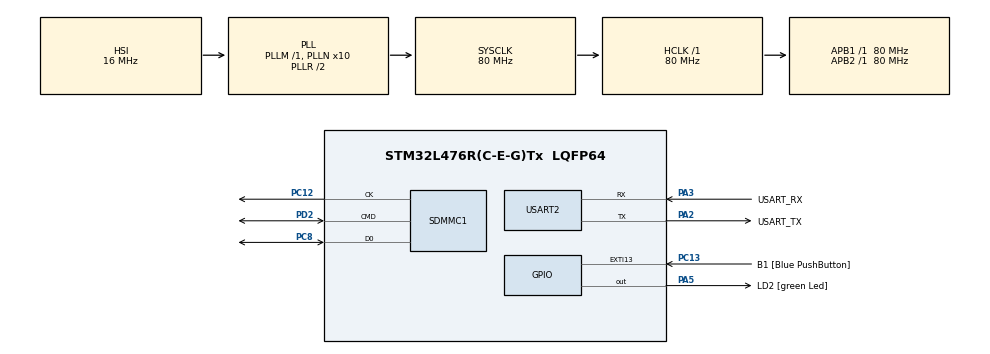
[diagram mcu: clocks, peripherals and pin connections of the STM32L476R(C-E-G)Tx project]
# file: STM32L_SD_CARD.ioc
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ADC1.Channel-0\#ChannelRegularConversion=ADC_CHANNEL_TEMPSENSOR
ADC1.ClockPrescaler=ADC_CLOCK_ASYNC_DIV1
ADC1.ContinuousConvMode=DISABLE
ADC1.DMAContinuousRequests=DISABLE
ADC1.DataAlign=ADC_DATAALIGN_RIGHT
ADC1.DiscontinuousConvMode=DISABLE
ADC1.EOCSelection=ADC_EOC_SINGLE_CONV
ADC1.EnableAnalogWatchDog1=false
ADC1.EnableAnalogWatchDog2=false
ADC1.EnableAnalogWatchDog3=false
ADC1.EnableInjectedConversion=DISABLE
ADC1.EnableRegularConversion=ENABLE
ADC1.ExternalTrigConv=ADC_EXTERNALTRIG_T4_CC4
ADC1.ExternalTrigConvEdge=ADC_EXTERNALTRIGCONVEDGE_RISING
ADC1.LowPowerAutoWait=DISABLE
ADC1.NbrOfConversion=1
ADC1.NbrOfConversionFlag=1
ADC1.OffsetNumber-0\#ChannelRegularConversion=ADC_OFFSET_NONE
ADC1.Overrun=ADC_OVR_DATA_OVERWRITTEN
ADC1.OversamplingMode=ENABLE
ADC1.Rank-0\#ChannelRegularConversion=1
ADC1.Ratio=ADC_OVERSAMPLING_RATIO_8
ADC1.Resolution=ADC_RESOLUTION_12B
ADC1.SamplingTime-0\#ChannelRegularConversion=ADC_SAMPLETIME_12CYCLES_5
ADC1.ScanConvMode=ADC_SCAN_DISABLE
ADC1.master=1
Mcu.Family=STM32L4
Mcu.Name=STM32L476R(C-E-G)Tx
Mcu.Package=LQFP64
NVIC.ADC1_2_IRQn=true\:0\:0\:false\:true\:true\:2\:true
NVIC.EXTI15_10_IRQn=true\:0\:0\:false\:true\:true\:5\:true
NVIC.PriorityGroup=NVIC_PRIORITYGROUP_4
NVIC.TIM4_IRQn=true\:0\:0\:false\:true\:true\:3\:true
NVIC.USART2_IRQn=true\:0\:0\:false\:true\:true\:4\:true
PA13\ (JTMS-SWDIO).GPIO_Label=TMS
PA13\ (JTMS-SWDIO).Signal=SYS_JTMS-SWDIO
PA14\ (JTCK-SWCLK).GPIO_Label=TCK
PA14\ (JTCK-SWCLK).Signal=SYS_JTCK-SWCLK
PA2.GPIO_Label=USART_TX
PA2.GPIO_Mode=GPIO_MODE_AF_PP
PA2.GPIO_PuPd=GPIO_NOPULL
PA2.GPIO_Speed=GPIO_SPEED_FREQ_VERY_HIGH
PA2.Mode=Asynchronous
PA2.Signal=USART2_TX
PA3.GPIO_Label=USART_RX
PA3.GPIO_Mode=GPIO_MODE_AF_PP
PA3.GPIO_PuPd=GPIO_NOPULL
PA3.GPIO_Speed=GPIO_SPEED_FREQ_VERY_HIGH
PA3.Mode=Asynchronous
PA3.Signal=USART2_RX
PA5.GPIO_Label=LD2 [green Led]
PA5.GPIO_ModeDefaultOutputPP=GPIO_MODE_OUTPUT_PP
PA5.GPIO_PuPd=GPIO_NOPULL
PA5.GPIO_Speed=GPIO_SPEED_FREQ_LOW
PA5.Signal=GPIO_Output
PB3\ (JTDO-TRACESWO).GPIO_Label=SWO
PB3\ (JTDO-TRACESWO).Signal=SYS_JTDO-SWO
PC12.Mode=SD_1_bit
PC12.Signal=SDMMC1_CK
PC13.GPIO_Label=B1 [Blue PushButton]
PC13.GPIO_ModeDefaultEXTI=GPIO_MODE_IT_FALLING
PC13.GPIO_PuPd=GPIO_NOPULL
PC13.Signal=GPXTI13
PC14-OSC32_IN\ (PC14).Signal=RCC_OSC32_IN
PC15-OSC32_OUT\ (PC15).Signal=RCC_OSC32_OUT
PC8.Mode=SD_1_bit
PC8.Signal=SDMMC1_D0
PD2.Mode=SD_1_bit
PD2.Signal=SDMMC1_CMD
PH0-OSC_IN\ (PH0).Signal=RCC_OSC_IN
PH1-OSC_OUT\ (PH1).Signal=RCC_OSC_OUT
ProjectManager.HeapSize=0x200
ProjectManager.StackSize=0x400
ProjectManager.TargetToolchain=SW4STM32
RCC.ADCFreq_Value=64000000
RCC.AHBFreq_Value=80000000
RCC.APB1Freq_Value=80000000
RCC.APB1TimFreq_Value=80000000
RCC.APB2Freq_Value=80000000
RCC.APB2TimFreq_Value=80000000
RCC.CortexFreq_Value=80000000
RCC.HCLKFreq_Value=80000000
RCC.HSE_VALUE=8000000
RCC.HSI_VALUE=16000000
RCC.LSE_VALUE=32768
RCC.MSI_VALUE=4000000
RCC.PLLN=10
RCC.PLLSAI1Q=RCC_PLLQ_DIV4
RCC.PLLSourceVirtual=RCC_PLLSOURCE_HSI
RCC.PREFETCH_ENABLE=1
RCC.SYSCLKFreq_VALUE=80000000
RCC.SYSCLKSource=RCC_SYSCLKSOURCE_PLLCLK
RCC.USBFreq_Value=32000000
RCC.VCOOutputFreq_Value=160000000
TIM4.Channel-Output\ Compare4\ No\ Output=TIM_CHANNEL_4
TIM4.OCMode_4=TIM_OCMODE_TOGGLE
TIM4.Period=63999
TIM4.Prescaler=1249
USART2.VirtualMode-Asynchronous=VM_ASYNC
USART2.WordLength=WORDLENGTH_8B
VP_ADC1_TempSens_Input.Mode=IN-TempSens
VP_FATFS_VS_SDIO.Mode=SDIO
VP_TIM4_VS_ClockSourceINT.Mode=Internal
VP_TIM4_VS_no_output4.Mode=Output Compare4 No Output
board=NUCLEO-L476RG

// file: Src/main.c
/**
  ******************************************************************************
  * File Name          : main.c
  * Description        : Main program body
  ******************************************************************************
  * This notice applies to any and all portions of this file
  * that are not between comment pairs USER CODE BEGIN and
  * USER CODE END. Other portions of this file, whether
  * inserted by the user or by software development tools
  * are owned by their respective copyright owners.
  *
  * Copyright (c) 2017 STMicroelectronics International N.V.
  * All rights reserved.
  *
  * Redistribution and use in source and binary forms, with or without
  * modification, are permitted, provided that the following conditions are met:
  *
  * 1. Redistribution of source code must retain the above copyright notice,
  *    this list of conditions and the following disclaimer.
  * 2. Redistributions in binary form must reproduce the above copyright notice,
  *    this list of conditions and the following disclaimer in the documentation
  *    and/or other materials provided with the distribution.
  * 3. Neither the name of STMicroelectronics nor the names of other
  *    contributors to this software may be used to endorse or promote products
  *    derived from this software without specific written permission.
  * 4. This software, including modifications and/or derivative works of this
  *    software, must execute solely and exclusively on microcontroller or
  *    microprocessor devices manufactured by or for STMicroelectronics.
  * 5. Redistribution and use of this software other than as permitted under
  *    this license is void and will automatically terminate your rights under
  *    this license.
  *
  * THIS SOFTWARE IS PROVIDED BY STMICROELECTRONICS AND CONTRIBUTORS "AS IS"
  * AND ANY EXPRESS, IMPLIED OR STATUTORY WARRANTIES, INCLUDING, BUT NOT
  * LIMITED TO, THE IMPLIED WARRANTIES OF MERCHANTABILITY, FITNESS FOR A
  * PARTICULAR PURPOSE AND NON-INFRINGEMENT OF THIRD PARTY INTELLECTUAL PROPERTY
  * RIGHTS ARE DISCLAIMED TO THE FULLEST EXTENT PERMITTED BY LAW. IN NO EVENT
  * SHALL STMICROELECTRONICS OR CONTRIBUTORS BE LIABLE FOR ANY DIRECT, INDIRECT,
  * INCIDENTAL, SPECIAL, EXEMPLARY, OR CONSEQUENTIAL DAMAGES (INCLUDING, BUT NOT
  * LIMITED TO, PROCUREMENT OF SUBSTITUTE GOODS OR SERVICES; LOSS OF USE, DATA,
  * OR PROFITS; OR BUSINESS INTERRUPTION) HOWEVER CAUSED AND ON ANY THEORY OF
  * LIABILITY, WHETHER IN CONTRACT, STRICT LIABILITY, OR TORT (INCLUDING
  * NEGLIGENCE OR OTHERWISE) ARISING IN ANY WAY OUT OF THE USE OF THIS SOFTWARE,
  * EVEN IF ADVISED OF THE POSSIBILITY OF SUCH DAMAGE.
  *
  ******************************************************************************
  */
#include "main.h"
#include "stm32l4xx_hal.h"
#include "fatfs.h"

ADC_HandleTypeDef hadc1;

SD_HandleTypeDef hsd1;

TIM_HandleTypeDef htim4;

UART_HandleTypeDef huart2;

/* USER CODE BEGIN PV */
/* Private variables ---------------------------------------------------------*/
/* Buffer used for transmission */
uint8_t aTxBuffer[TXBUFFERSIZE];

/* Buffer used for reception */
uint8_t aRxBuffer[RXBUFFERSIZE];

/*ADC data store*/
uint8_t ADC_result;
__IO uint16_t uhADCxConvertedData = 0; /* ADC group regular conversion data */

uint8_t filename[20];
uint8_t write_buffer[200];
uint8_t read_buffer[200];

//uint8_t retSD; /* Return value for SD */
//char SDPath[4]; /* SD logical drive path */
//FATFS SDFatFS; /* File system object for SD logical drive */
//FIL SDFile; /* File object for SD */
FRESULT res;                                          /* FatFs function common result code */
uint32_t byteswritten, bytesread;

/* USER CODE END PV */

void SystemClock_Config(void);
static void MX_GPIO_Init(void);
static void MX_ADC1_Init(void);
static void MX_TIM4_Init(void);
static void MX_USART2_UART_Init(void);
static void MX_SDMMC1_SD_Init(void);
static void MX_NVIC_Init(void);

/* USER CODE BEGIN PFP */
/* Private function prototypes -----------------------------------------------*/

FRESULT User_SD_Init(void);
FRESULT User_SD_File_Read(char* filename, uint8_t* read_buffer);
FRESULT User_SD_File_Write(char* filename, uint8_t* write_buffer);

void HAL_TIM_PeriodElapsedCallback(TIM_HandleTypeDef *htim);
void HAL_ADC_ConvCpltCallback(ADC_HandleTypeDef* hadc);
void HAL_ADC_ErrorCallback(ADC_HandleTypeDef *hadc);

int size(char *ptr);
/* USER CODE END PFP */

int main(void)
{

  /* MCU Configuration----------------------------------------------------------*/

  /* Reset of all peripherals, Initializes the Flash interface and the Systick. */
  HAL_Init();

  /* Configure the system clock */
  SystemClock_Config();

  /* Initialize all configured peripherals */
  MX_GPIO_Init();
  MX_ADC1_Init();
  MX_TIM4_Init();
  MX_USART2_UART_Init();
  MX_SDMMC1_SD_Init();
  MX_FATFS_Init();

  /* Initialize interrupts */
  MX_NVIC_Init();

  // Using Board support drivers
  HAL_StatusTypeDef result = BSP_SD_Init();
  if(result != HAL_OK)
	  _Error_Handler(" File Open Error", __LINE__);

  /* USER CODE BEGIN 2 */

	HAL_SD_MspInit(&hsd1);
	result = HAL_SD_Init(&hsd1);
	if (result != HAL_OK)
		HAL_GPIO_TogglePin(LD2_GPIO_Port, LD2_Pin);

	uint8_t len;
	memset(aTxBuffer, '\0',TXBUFFERSIZE-1);
	len = sprintf((char*)aTxBuffer,"%s","UART READY\n");

	if( HAL_UART_Transmit(&huart2, aTxBuffer, len, 200) !=  HAL_OK )
		_Error_Handler("UART Transmit Error", __LINE__);

	if( User_SD_Init() !=  FR_OK ) _Error_Handler("SD Initialization Error", __LINE__);

	//send note to UART that SD all good
	memset(aTxBuffer, '\0',TXBUFFERSIZE-1);
	len = sprintf((char*)aTxBuffer,"%s","****The SD card was initialized successfully****\n");
	HAL_UART_Transmit(&huart2, (uint8_t*)aTxBuffer, len, 200);

	User_SD_File_Write("job.txt", aTxBuffer);

	memset(aTxBuffer, '\0',TXBUFFERSIZE-1);
	len = sprintf((char*)aTxBuffer,"%s","****Project Init Success, entering endless loop ...****\n");
	HAL_UART_Transmit(&huart2, (uint8_t*)aTxBuffer, len, 200);

	/** TIM for base timer, timer for internal trigger */
	if (HAL_TIM_Base_Start_IT(&htim4) != HAL_OK)
		_Error_Handler("HAL_TIM_Base_Start_IT error", __LINE__);

	/**TIM for Output Compare, PinToggle */
	HAL_TIM_OC_Start_IT(&htim4, TIM_CHANNEL_4);

	/**ADC Start Regular Conversions**/
	if (HAL_ADC_Start_IT(&hadc1) != HAL_OK)
		_Error_Handler("ADC conversion start error", __LINE__);

  /* USER CODE END 2 */

  /* Infinite loop */
  while (1)
  {

  }

}

/** System Clock Configuration
*/
void SystemClock_Config(void)
{

  RCC_OscInitTypeDef RCC_OscInitStruct;
  RCC_ClkInitTypeDef RCC_ClkInitStruct;
  RCC_PeriphCLKInitTypeDef PeriphClkInit;

    /**Initializes the CPU, AHB and APB busses clocks
    */
  RCC_OscInitStruct.OscillatorType = RCC_OSCILLATORTYPE_HSI;
  RCC_OscInitStruct.HSIState = RCC_HSI_ON;
  RCC_OscInitStruct.HSICalibrationValue = 16;
  RCC_OscInitStruct.PLL.PLLState = RCC_PLL_ON;
  RCC_OscInitStruct.PLL.PLLSource = RCC_PLLSOURCE_HSI;
  RCC_OscInitStruct.PLL.PLLN = 10;
  RCC_OscInitStruct.PLL.PLLM = 1;
  RCC_OscInitStruct.PLL.PLLP = RCC_PLLP_DIV7;
  RCC_OscInitStruct.PLL.PLLQ = RCC_PLLQ_DIV2;
  RCC_OscInitStruct.PLL.PLLR = RCC_PLLR_DIV2;
  if (HAL_RCC_OscConfig(&RCC_OscInitStruct) != HAL_OK)
  {
    _Error_Handler(__FILE__, __LINE__);
  }

    /**Initializes the CPU, AHB and APB busses clocks
    */
  RCC_ClkInitStruct.ClockType = RCC_CLOCKTYPE_HCLK|RCC_CLOCKTYPE_SYSCLK
                              |RCC_CLOCKTYPE_PCLK1|RCC_CLOCKTYPE_PCLK2;
  RCC_ClkInitStruct.SYSCLKSource = RCC_SYSCLKSOURCE_PLLCLK;
  RCC_ClkInitStruct.AHBCLKDivider = RCC_SYSCLK_DIV1;
  RCC_ClkInitStruct.APB1CLKDivider = RCC_HCLK_DIV1;
  RCC_ClkInitStruct.APB2CLKDivider = RCC_HCLK_DIV1;

  if (HAL_RCC_ClockConfig(&RCC_ClkInitStruct, FLASH_LATENCY_3) != HAL_OK)
  {
    _Error_Handler(__FILE__, __LINE__);
  }

  PeriphClkInit.PeriphClockSelection = RCC_PERIPHCLK_USART2|RCC_PERIPHCLK_SDMMC1
                              |RCC_PERIPHCLK_ADC;
  PeriphClkInit.Usart2ClockSelection = RCC_USART2CLKSOURCE_PCLK1;
  PeriphClkInit.AdcClockSelection = RCC_ADCCLKSOURCE_PLLSAI1;
  PeriphClkInit.Sdmmc1ClockSelection = RCC_SDMMC1CLKSOURCE_PLLSAI1;
  PeriphClkInit.PLLSAI1.PLLSAI1Source = RCC_PLLSOURCE_HSI;
  PeriphClkInit.PLLSAI1.PLLSAI1M = 1;
  PeriphClkInit.PLLSAI1.PLLSAI1N = 8;
  PeriphClkInit.PLLSAI1.PLLSAI1P = RCC_PLLP_DIV7;
  PeriphClkInit.PLLSAI1.PLLSAI1Q = RCC_PLLQ_DIV4;
  PeriphClkInit.PLLSAI1.PLLSAI1R = RCC_PLLR_DIV2;
  PeriphClkInit.PLLSAI1.PLLSAI1ClockOut = RCC_PLLSAI1_48M2CLK|RCC_PLLSAI1_ADC1CLK;
  if (HAL_RCCEx_PeriphCLKConfig(&PeriphClkInit) != HAL_OK)
  {
    _Error_Handler(__FILE__, __LINE__);
  }

    /**Configure the main internal regulator output voltage
    */
  if (HAL_PWREx_ControlVoltageScaling(PWR_REGULATOR_VOLTAGE_SCALE1) != HAL_OK)
  {
    _Error_Handler(__FILE__, __LINE__);
  }

    /**Configure the Systick interrupt time
    */
  HAL_SYSTICK_Config(HAL_RCC_GetHCLKFreq()/1000);

    /**Configure the Systick
    */
  HAL_SYSTICK_CLKSourceConfig(SYSTICK_CLKSOURCE_HCLK);

  /* SysTick_IRQn interrupt configuration */
  HAL_NVIC_SetPriority(SysTick_IRQn, 0, 0);
}

/** NVIC Configuration
*/
static void MX_NVIC_Init(void)
{
  /* ADC1_2_IRQn interrupt configuration */
  HAL_NVIC_SetPriority(ADC1_2_IRQn, 0, 0);
  HAL_NVIC_EnableIRQ(ADC1_2_IRQn);
  /* TIM4_IRQn interrupt configuration */
  HAL_NVIC_SetPriority(TIM4_IRQn, 0, 0);
  HAL_NVIC_EnableIRQ(TIM4_IRQn);
  /* USART2_IRQn interrupt configuration */
  HAL_NVIC_SetPriority(USART2_IRQn, 0, 0);
  HAL_NVIC_EnableIRQ(USART2_IRQn);
  /* EXTI15_10_IRQn interrupt configuration */
  HAL_NVIC_SetPriority(EXTI15_10_IRQn, 0, 0);
  HAL_NVIC_EnableIRQ(EXTI15_10_IRQn);
}

/* ADC1 init function */
static void MX_ADC1_Init(void)
{

  ADC_MultiModeTypeDef multimode;
  ADC_ChannelConfTypeDef sConfig;

    /**Common config
    */
  hadc1.Instance = ADC1;
  hadc1.Init.ClockPrescaler = ADC_CLOCK_ASYNC_DIV1;
  hadc1.Init.Resolution = ADC_RESOLUTION_12B;
  hadc1.Init.DataAlign = ADC_DATAALIGN_RIGHT;
  hadc1.Init.ScanConvMode = ADC_SCAN_DISABLE;
  hadc1.Init.EOCSelection = ADC_EOC_SINGLE_CONV;
  hadc1.Init.LowPowerAutoWait = DISABLE;
  hadc1.Init.ContinuousConvMode = DISABLE;
  hadc1.Init.NbrOfConversion = 1;
  hadc1.Init.DiscontinuousConvMode = DISABLE;
  hadc1.Init.NbrOfDiscConversion = 1;
  hadc1.Init.ExternalTrigConv = ADC_EXTERNALTRIG_T4_CC4;
  hadc1.Init.ExternalTrigConvEdge = ADC_EXTERNALTRIGCONVEDGE_RISING;
  hadc1.Init.DMAContinuousRequests = DISABLE;
  hadc1.Init.Overrun = ADC_OVR_DATA_OVERWRITTEN;
  hadc1.Init.OversamplingMode = ENABLE;
  hadc1.Init.Oversampling.Ratio = ADC_OVERSAMPLING_RATIO_8;
  hadc1.Init.Oversampling.RightBitShift = ADC_RIGHTBITSHIFT_NONE;
  hadc1.Init.Oversampling.TriggeredMode = ADC_TRIGGEREDMODE_SINGLE_TRIGGER;
  hadc1.Init.Oversampling.OversamplingStopReset = ADC_REGOVERSAMPLING_CONTINUED_MODE;
  if (HAL_ADC_Init(&hadc1) != HAL_OK)
  {
    _Error_Handler(__FILE__, __LINE__);
  }

    /**Configure the ADC multi-mode
    */
  multimode.Mode = ADC_MODE_INDEPENDENT;
  if (HAL_ADCEx_MultiModeConfigChannel(&hadc1, &multimode) != HAL_OK)
  {
    _Error_Handler(__FILE__, __LINE__);
  }

    /**Configure Regular Channel
    */
  sConfig.Channel = ADC_CHANNEL_TEMPSENSOR;
  sConfig.Rank = 1;
  sConfig.SamplingTime = ADC_SAMPLETIME_12CYCLES_5;
  sConfig.SingleDiff = ADC_SINGLE_ENDED;
  sConfig.OffsetNumber = ADC_OFFSET_NONE;
  sConfig.Offset = 0;
  if (HAL_ADC_ConfigChannel(&hadc1, &sConfig) != HAL_OK)
  {
    _Error_Handler(__FILE__, __LINE__);
  }

}

/* SDMMC1 init function */
static void MX_SDMMC1_SD_Init(void)
{

  hsd1.Instance = SDMMC1;
  hsd1.Init.ClockEdge = SDMMC_CLOCK_EDGE_RISING;
  hsd1.Init.ClockBypass = SDMMC_CLOCK_BYPASS_DISABLE;
  hsd1.Init.ClockPowerSave = SDMMC_CLOCK_POWER_SAVE_DISABLE;
  hsd1.Init.BusWide = SDMMC_BUS_WIDE_1B;
  hsd1.Init.HardwareFlowControl = SDMMC_HARDWARE_FLOW_CONTROL_DISABLE;
  hsd1.Init.ClockDiv = 0;

}

/* TIM4 init function */
static void MX_TIM4_Init(void)
{

  TIM_ClockConfigTypeDef sClockSourceConfig;
  TIM_MasterConfigTypeDef sMasterConfig;
  TIM_OC_InitTypeDef sConfigOC;

  htim4.Instance = TIM4;
  htim4.Init.Prescaler = 1249;
  htim4.Init.CounterMode = TIM_COUNTERMODE_UP;
  htim4.Init.Period = 63999;
  htim4.Init.ClockDivision = TIM_CLOCKDIVISION_DIV1;
  htim4.Init.AutoReloadPreload = TIM_AUTORELOAD_PRELOAD_DISABLE;
  if (HAL_TIM_Base_Init(&htim4) != HAL_OK)
  {
    _Error_Handler(__FILE__, __LINE__);
  }

  sClockSourceConfig.ClockSource = TIM_CLOCKSOURCE_INTERNAL;
  if (HAL_TIM_ConfigClockSource(&htim4, &sClockSourceConfig) != HAL_OK)
  {
    _Error_Handler(__FILE__, __LINE__);
  }

  if (HAL_TIM_OC_Init(&htim4) != HAL_OK)
  {
    _Error_Handler(__FILE__, __LINE__);
  }

  sMasterConfig.MasterOutputTrigger = TIM_TRGO_RESET;
  sMasterConfig.MasterSlaveMode = TIM_MASTERSLAVEMODE_DISABLE;
  if (HAL_TIMEx_MasterConfigSynchronization(&htim4, &sMasterConfig) != HAL_OK)
  {
    _Error_Handler(__FILE__, __LINE__);
  }

  sConfigOC.OCMode = TIM_OCMODE_TOGGLE;
  sConfigOC.Pulse = 0;
  sConfigOC.OCPolarity = TIM_OCPOLARITY_HIGH;
  sConfigOC.OCFastMode = TIM_OCFAST_DISABLE;
  if (HAL_TIM_OC_ConfigChannel(&htim4, &sConfigOC, TIM_CHANNEL_4) != HAL_OK)
  {
    _Error_Handler(__FILE__, __LINE__);
  }

}

/* USART2 init function */
static void MX_USART2_UART_Init(void)
{

  huart2.Instance = USART2;
  huart2.Init.BaudRate = 115200;
  huart2.Init.WordLength = UART_WORDLENGTH_8B;
  huart2.Init.StopBits = UART_STOPBITS_1;
  huart2.Init.Parity = UART_PARITY_NONE;
  huart2.Init.Mode = UART_MODE_TX_RX;
  huart2.Init.HwFlowCtl = UART_HWCONTROL_NONE;
  huart2.Init.OverSampling = UART_OVERSAMPLING_16;
  huart2.Init.OneBitSampling = UART_ONE_BIT_SAMPLE_DISABLE;
  huart2.AdvancedInit.AdvFeatureInit = UART_ADVFEATURE_NO_INIT;
  if (HAL_UART_Init(&huart2) != HAL_OK)
  {
    _Error_Handler(__FILE__, __LINE__);
  }

}

/** Configure pins as
        * Analog
        * Input
        * Output
        * EVENT_OUT
        * EXTI
*/
static void MX_GPIO_Init(void)
{

  GPIO_InitTypeDef GPIO_InitStruct;

  /* GPIO Ports Clock Enable */
  __HAL_RCC_GPIOC_CLK_ENABLE();
  __HAL_RCC_GPIOH_CLK_ENABLE();
  __HAL_RCC_GPIOA_CLK_ENABLE();
  __HAL_RCC_GPIOD_CLK_ENABLE();
  __HAL_RCC_GPIOB_CLK_ENABLE();

  /*Configure GPIO pin Output Level */
  HAL_GPIO_WritePin(LD2_GPIO_Port, LD2_Pin, GPIO_PIN_RESET);

  /*Configure GPIO pin : B1_Pin */
  GPIO_InitStruct.Pin = B1_Pin;
  GPIO_InitStruct.Mode = GPIO_MODE_IT_FALLING;
  GPIO_InitStruct.Pull = GPIO_NOPULL;
  HAL_GPIO_Init(B1_GPIO_Port, &GPIO_InitStruct);

  /*Configure GPIO pin : LD2_Pin */
  GPIO_InitStruct.Pin = LD2_Pin;
  GPIO_InitStruct.Mode = GPIO_MODE_OUTPUT_PP;
  GPIO_InitStruct.Pull = GPIO_NOPULL;
  GPIO_InitStruct.Speed = GPIO_SPEED_FREQ_LOW;
  HAL_GPIO_Init(LD2_GPIO_Port, &GPIO_InitStruct);

}

/* USER CODE BEGIN 4 */

FRESULT User_SD_Init(void) //HAL_StatusTypeDef
{

		/*##-1- Link the micro SD disk I/O driver ##################################*/
//		res = FATFS_LinkDriver(&SD_Driver, SDPath);
//		if(res != FR_OK) return res;

		/*##-2- Register the file system object to the FatFs module ##############*/
		res = f_mount(&SDFatFS, (TCHAR const*)SDPath, 0);

		return res;
}

FRESULT User_SD_File_Write(char *filename, uint8_t *write_buffer) //HAL_StatusTypeDef
{
//	FRESULT f_open (
//	FIL* fp,			/* Pointer to the blank file object */
//	const TCHAR* path,	/* Pointer to the file name */
//	BYTE mode			/* Access mode and file open mode flags */
//)

	res  = f_open(&SDFile, filename, FA_CREATE_ALWAYS | FA_WRITE);
		if(res != FR_OK)
				{
					/* 'STM32.TXT' file Open for write Error */
					_Error_Handler(" File Open Error", __LINE__);
				}
		else
		{
				/*##-5- Write data to the text file ################################*/
				res = f_write(&SDFile, write_buffer, sizeof(*write_buffer), (void *)&byteswritten);

				if((byteswritten == 0) || (res != FR_OK))
				{
					/* 'STM32.TXT' file Write or EOF Error */
					_Error_Handler(" File Write Error", __LINE__);
				}
				else
				{
						/*##-6- Close the open text file #################################*/
						return res ;
						f_close(&SDFile);
				}
			}
		return res;
}

FRESULT User_SD_File_Read(char *filename, uint8_t* read_buffer)
{
	res  = f_open(&SDFile,filename, FA_READ);
		if(res != FR_OK)
				{
					/* 'STM32.TXT' file Open for write Error */
					_Error_Handler(" File Open Error", __LINE__);
				}
		else
		{
				/*##-5- Write data to the text file ################################*/
				res = f_read(&SDFile, read_buffer, sizeof(*read_buffer), (void *)&bytesread);

				if((bytesread == 0) || (res != FR_OK))
				{
					/* 'STM32.TXT' file Write or EOF Error */
					_Error_Handler(" File Read Error", __LINE__);
				}
				else
				{
						/*##-6- Close the open text file #################################*/
						return res ;
						f_close(&SDFile);
				}
			}
		return res;
}

void HAL_ADC_ConvCpltCallback(ADC_HandleTypeDef* hadc)
{
	uint8_t len;
	uhADCxConvertedData = HAL_ADC_GetValue(hadc);

	memset(aTxBuffer, '\0',TXBUFFERSIZE-1);
	len = sprintf((char*)aTxBuffer,"\n\tThe Temperature is: %i:", uhADCxConvertedData);
	HAL_UART_Transmit(&huart2, (uint8_t*)aTxBuffer, len, 200);

}

/**
  * @brief  ADC error callback in non blocking mode
  *        (ADC conversion with interruption or transfer by DMA)
  * @param  hadc: ADC handle
  * @retval None
  */
void HAL_ADC_ErrorCallback(ADC_HandleTypeDef *hadc)
{
  /* In case of ADC error, call main error handler */
	_Error_Handler("HAL_ADC_ErrorCallback", __LINE__);
}

void HAL_TIM_PeriodElapsedCallback(TIM_HandleTypeDef *htim)
{
	HAL_GPIO_TogglePin(LD2_GPIO_Port, LD2_Pin);
}

//returns the size of a character array using a pointer to the first element of the character array
int size(char *ptr)
{
    //variable used to access the subsequent array elements.
    int offset = 0;
    //variable that counts the number of elements in your array
    int count = 0;

    //While loop that tests whether the end of the array has been reached
    while (*(ptr + offset) != '\0')
    {
        //increment the count variable
        ++count;
        //advance to the next element of the array
        ++offset;
    }
    //return the size of the array
    return count;
}

/* USER CODE END 4 */

void _Error_Handler(char * file, int line)
{
  /* USER CODE BEGIN Error_Handler_Debug */
	/* User can add his own implementation to report the HAL error return state */
	HAL_UART_Transmit(&huart2, (uint8_t *)file, (uint16_t)size(file), 200);
	while(1)
	{
		HAL_GPIO_TogglePin(LD2_GPIO_Port, LD2_Pin);
		HAL_Delay(100);
	}
  /* USER CODE END Error_Handler_Debug */
}

/************************ (C) COPYRIGHT STMicroelectronics *****END OF FILE****/
